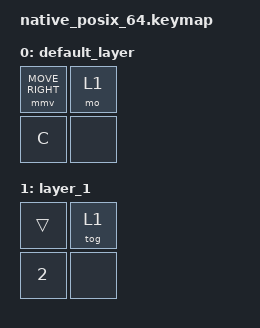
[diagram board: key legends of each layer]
#include <behaviors.dtsi>
#include <behaviors/mouse_move.dtsi>
#include <dt-bindings/zmk/keys.h>
#include <dt-bindings/zmk/kscan_mock.h>
#include <dt-bindings/zmk/pointing.h>

/*
 * Pointer motion counts as activity. &mmv at (0,0) is pressed BEFORE &mo arms, so the key
 * itself is baseline (not "busy"); only the input events it generates can hold the lock off.
 */
/ {
    layer_idle_lock {
        compatible = "zmk,layer-idle-lock";

        lock_1 {
            layer = <1>;
            idle-ms = <500>;
            enter = <&kp F13>;
            exit = <&kp F14>;
        };
    };

    keymap {
        compatible = "zmk,keymap";

        default_layer {
            bindings = <
                &mmv MOVE_RIGHT  &mo 1
                &kp C            &none>;
        };

        layer_1 {
            bindings = <
                &trans  &tog 1
                &kp N2  &none>;
        };
    };
};

&kscan {
    events = <
        /* cursor moving, then &mo held 1000 ms: no lock while it moves */
        ZMK_MOCK_PRESS(0,0,10)
        ZMK_MOCK_PRESS(0,1,1000)
        /* motion stops: the lock follows ~500 ms later */
        ZMK_MOCK_RELEASE(0,0,700)
        ZMK_MOCK_RELEASE(0,1,10)
        ZMK_MOCK_PRESS(1,0,10)
        ZMK_MOCK_RELEASE(1,0,10)
        ZMK_MOCK_PRESS(0,1,10)
        ZMK_MOCK_RELEASE(0,1,10)
    >;
};
